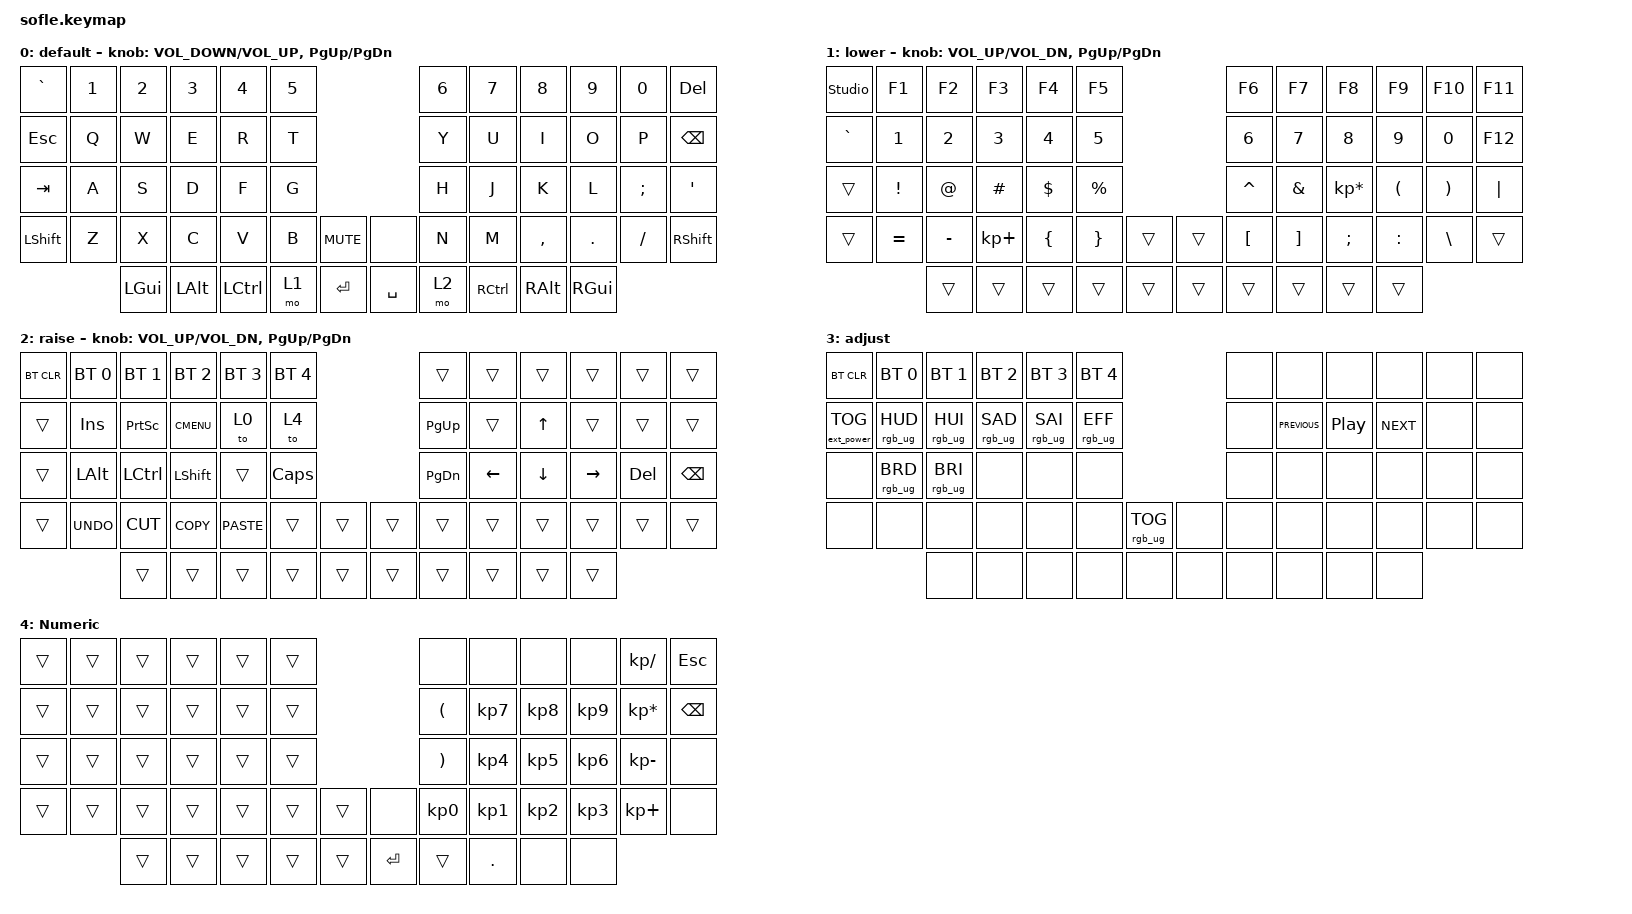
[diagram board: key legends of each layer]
/*
 * Copyright (c) 2020 The ZMK Contributors
 *
 * SPDX-License-Identifier: MIT
 */

#include <behaviors.dtsi>
#include <dt-bindings/zmk/bt.h>
#include <dt-bindings/zmk/ext_power.h>
#include <dt-bindings/zmk/keys.h>
#include <dt-bindings/zmk/rgb.h>

#define BASE 0
#define LOWER 1
#define RAISE 2
#define ADJUST 3

/ {
    // Activate ADJUST layer by pressing raise and lower

    conditional_layers {
        compatible = "zmk,conditional-layers";

        adjust_layer {
            if-layers = <1 2>;
            then-layer = <3>;
        };
    };

    keymap {
        compatible = "zmk,keymap";

        default_layer {
            label = "default";

            // ------------------------------------------------------------------------------------------------------------
            // |   `   |  1  |  2  |  3   |  4   |  5   |                   |  6   |  7    |  8    |  9   |   0   |       |
            // |  ESC  |  Q  |  W  |  E   |  R   |  T   |                   |  Y   |  U    |  I    |  O   |   P   | BKSPC |
            // |  TAB  |  A  |  S  |  D   |  F   |  G   |                   |  H   |  J    |  K    |  L   |   ;   |   '   |
            // | SHIFT |  Z  |  X  |  C   |  V   |  B   |  MUTE  |  |       |  N   |  M    |  ,    |  .   |   /   | SHIFT |
            //               | GUI | ALT  | CTRL | LOWER|  ENTER |  | SPACE | RAISE| CTRL  | ALT   | GUI  |

            bindings = <
&kp GRAVE  &kp N1  &kp N2    &kp N3    &kp N4     &kp N5                           &kp N6  &kp N7     &kp N8     &kp N9    &kp N0    &kp DELETE
&kp ESC    &kp Q   &kp W     &kp E     &kp R      &kp T                            &kp Y   &kp U      &kp I      &kp O     &kp P     &kp BSPC
&kp TAB    &kp A   &kp S     &kp D     &kp F      &kp G                            &kp H   &kp J      &kp K      &kp L     &kp SEMI  &kp SQT
&kp LSHFT  &kp Z   &kp X     &kp C     &kp V      &kp B   &kp C_MUTE    &none      &kp N   &kp M      &kp COMMA  &kp DOT   &kp FSLH  &kp RSHFT
                   &kp LGUI  &kp LALT  &kp LCTRL  &mo 1   &kp RET       &kp SPACE  &mo 2   &kp RCTRL  &kp RALT   &kp RGUI
            >;

            sensor-bindings =
                <&inc_dec_kp C_VOLUME_DOWN C_VOLUME_UP>,
                <&inc_dec_kp PG_UP PG_DN>;
        };

        lower_layer {
            label = "lower";

            // TODO: Some binds are waiting for shifted keycode support.
            // ------------------------------------------------------------------------------------------------------------
            // |       |  F1 |  F2 |  F3  |  F4  |  F5  |                   |  F6  |  F7   |  F8   |  F9  |  F10  |  F11  |
            // |   `   |  1  |  2  |  3   |  4   |  5   |                   |  6   |  7    |  8    |  9   |   0   |  F12  |
            // |       |  !  |  @  |  #   |  $   |  %   |                   |  ^   |  &    |  *    |  (   |   )   |   |   |
            // |       |  =  |  -  |  +   |  {   |  }   |        |  |       |  [   |  ]    |  ;    |  :   |   \   |       |
            //               |     |      |      |      |        |  |       |      |       |       |      |

            bindings = <
&studio_unlock  &kp F1     &kp F2     &kp F3       &kp F4    &kp F5                       &kp F6     &kp F7    &kp F8           &kp F9     &kp F10   &kp F11
&kp GRAVE       &kp N1     &kp N2     &kp N3       &kp N4    &kp N5                       &kp N6     &kp N7    &kp N8           &kp N9     &kp N0    &kp F12
&trans          &kp EXCL   &kp AT     &kp HASH     &kp DLLR  &kp PRCNT                    &kp CARET  &kp AMPS  &kp KP_MULTIPLY  &kp LPAR   &kp RPAR  &kp PIPE
&trans          &kp EQUAL  &kp MINUS  &kp KP_PLUS  &kp LBRC  &kp RBRC   &trans    &trans  &kp LBKT   &kp RBKT  &kp SEMI         &kp COLON  &kp BSLH  &trans
                           &trans     &trans       &trans    &trans     &trans    &trans  &trans     &trans    &trans           &trans
            >;

            sensor-bindings = <&inc_dec_kp C_VOL_UP C_VOL_DN &inc_dec_kp PG_UP PG_DN>;
        };

        raise_layer {
            label = "raise";

            // ------------------------------------------------------------------------------------------------------------
            // | BTCLR | BT1  | BT2  |  BT3  |  BT4  |  BT5 |                |      |      |       |      |       |       |
            // |       | INS  | PSCR | GUI   |       |      |                | PGUP |      |   ^   |      |       |       |
            // |       | ALT  | CTRL | SHIFT |       | CAPS |                | PGDN |   <- |   v   |  ->  |  DEL  | BKSPC |
            // |       | UNDO | CUT  | COPY  | PASTE |      |      |  |      |      |      |       |      |       |       |
            //                |      |       |       |      |      |  |      |      |      |       |      |

            bindings = <
&bt BT_CLR  &bt BT_SEL 0  &bt BT_SEL 1  &bt BT_SEL 2  &bt BT_SEL 3  &bt BT_SEL 4                    &trans     &trans    &trans    &trans     &trans   &trans
&trans      &kp INS       &kp PSCRN     &kp K_CMENU   &to 0         &to 4                           &kp PG_UP  &trans    &kp UP    &trans     &trans   &trans
&trans      &kp LALT      &kp LCTRL     &kp LSHFT     &trans        &kp CLCK                        &kp PG_DN  &kp LEFT  &kp DOWN  &kp RIGHT  &kp DEL  &kp BSPC
&trans      &kp K_UNDO    &kp K_CUT     &kp K_COPY    &kp K_PASTE   &trans        &trans    &trans  &trans     &trans    &trans    &trans     &trans   &trans
                          &trans        &trans        &trans        &trans        &trans    &trans  &trans     &trans    &trans    &trans
            >;

            sensor-bindings = <&inc_dec_kp C_VOL_UP C_VOL_DN &inc_dec_kp PG_UP PG_DN>;
        };

        adjust_layer {
            // ----------------------------------------------------------------------------------------------------------------------------
            // | BTCLR  |  BT1    |  BT2    |   BT3   |   BT4   |   BT5   |                  |      |      |       |      |       |       |
            // | EXTPWR | RGB_HUD | RGB_HUI | RGB_SAD | RGB_SAI | RGB_EFF |                  |      |      |       |      |       |       |
            // |        | RGB_BRD | RGB_BRI |         |         |         |                  |      |      |       |      |       |       |
            // |        |         |         |         |         |         | RGB_TOG | |      |      |      |       |      |       |       |
            //                    |         |         |         |         |         | |      |      |      |       |      |

            label = "adjust";
            bindings = <
&bt BT_CLR         &bt BT_SEL 0     &bt BT_SEL 1     &bt BT_SEL 2     &bt BT_SEL 3     &bt BT_SEL 4                               &none  &none           &none             &none       &none  &none
&ext_power EP_TOG  &rgb_ug RGB_HUD  &rgb_ug RGB_HUI  &rgb_ug RGB_SAD  &rgb_ug RGB_SAI  &rgb_ug RGB_EFF                            &none  &kp C_PREVIOUS  &kp C_PLAY_PAUSE  &kp C_NEXT  &none  &none
&none              &rgb_ug RGB_BRD  &rgb_ug RGB_BRI  &none            &none            &none                                      &none  &none           &none             &none       &none  &none
&none              &none            &none            &none            &none            &none            &rgb_ug RGB_TOG    &none  &none  &none           &none             &none       &none  &none
                                    &none            &none            &none            &none            &none              &none  &none  &none           &none             &none
            >;
        };

        NUM_LAYER {
            bindings = <
&trans  &trans  &trans  &trans  &trans  &trans                     &none                  &none            &none            &none            &kp KP_SLASH     &kp ESC
&trans  &trans  &trans  &trans  &trans  &trans                     &kp LEFT_PARENTHESIS   &kp KP_NUMBER_7  &kp KP_NUMBER_8  &kp KP_NUMBER_9  &kp KP_MULTIPLY  &kp BACKSPACE
&trans  &trans  &trans  &trans  &trans  &trans                     &kp RIGHT_PARENTHESIS  &kp KP_NUMBER_4  &kp KP_NUMBER_5  &kp KP_NUMBER_6  &kp KP_MINUS     &none
&trans  &trans  &trans  &trans  &trans  &trans  &trans    &none    &kp KP_NUMBER_0        &kp KP_NUMBER_1  &kp KP_NUMBER_2  &kp KP_NUMBER_3  &kp KP_PLUS      &none
                &trans  &trans  &trans  &trans  &trans    &kp RET  &trans                 &kp DOT          &none            &none
            >;

            label = "Numeric";
        };
    };
};
